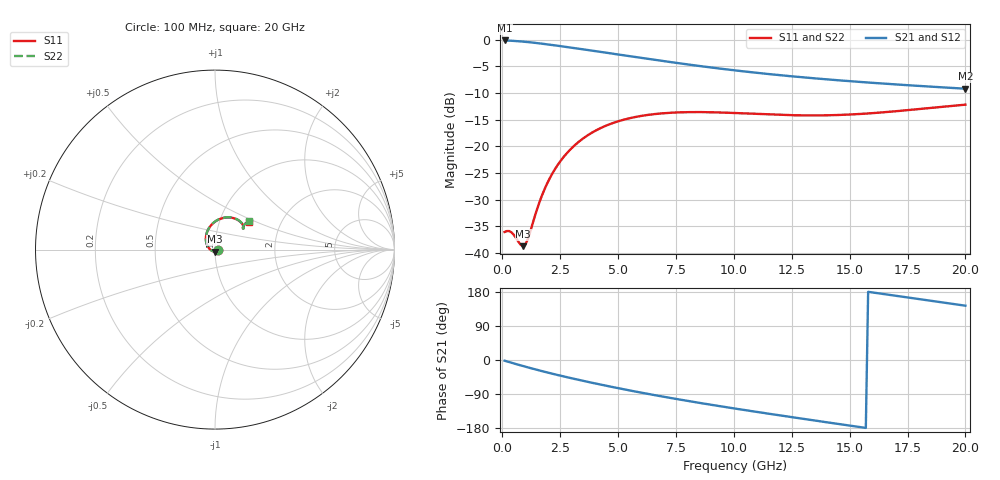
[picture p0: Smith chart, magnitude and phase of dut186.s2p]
! Touchstone file exported from HFSS 2024.1.0
!  File:  C:/UserFiles/LocalFiles/RDL_TSV_Batchsim/temp_RDL_TSV_186_1779440325.aedt
!  Generated:  05:12:53 PM May 22, 2026
!  Design:  RDL_TSV
!  Project:  temp_RDL_TSV_186_1779440325
!  Setup:  Setup1
!  Solution:  Sweep
! Variables:
!  dtsv = 9.55um
!  hbump = 3um
!  htsv = 74.54um
!  ldown = 642.29um
!  lrdl = 322.39um
!  p = 40
!  p1 = 45.52um
!  rhole = 10um
!  subl = 3216.43um
!  t = 450um
!  tdown = 2.71um
!  trdl = 3.03um
!  viad = 10um
!  wdown = 27.27um
!  wrdl = 27.04um
!  xbump = 18um
# GHz S MA R 50.000000
! Terminal data exported
! Port[1] = TM1_1_T1
! Port[2] = TM1_4_T1
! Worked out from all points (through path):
!   200 points, 100 MHz to 20 GHz, reference 50 ohm
!   highest |S21| = -0.14 dB at 100 MHz (marker M1); lowest = -9.2 dB at 20 GHz (marker M2)
!   group delay of S21, straight-line fit = 28.6 ps
!   lowest |S11| = -38.7 dB at 900 MHz (marker M3), VSWR 1.02, Z = 49.9 - j1.16 ohm
!   |S11| at or under -10 dB: start of sweep to end of sweep
!   |S22| runs from -38.7 to -12.1 dB; largest |S21 - S12| = 2.1e-14
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0.1  0.01574 -3.3  0.9837 -1.9  0.9837 -1.9  0.01574 -3.3
! Gamma 0 0 0 0
! Port Impedance 50 0 50 0
0.3  0.01606 -15.9  0.9797 -5.6  0.9797 -5.6  0.01606 -16.0
0.4  0.0156 -24.5  0.977 -7.4  0.977 -7.4  0.01559 -24.6
0.8  0.01191 -75.0  0.9635 -14.3  0.9635 -14.3  0.01187 -75.4
0.9  0.0116 -93.5  0.9594 -16.0  0.9594 -16.0  0.01157 -94.0
1  0.01207 -113.1  0.955 -17.7  0.955 -17.7  0.01207 -113.6
1.1  0.01346 -131.5  0.9504 -19.4  0.9504 -19.4  0.01348 -132.0
1.6  0.02976 174.0  0.9242 -27.6  0.9242 -27.6  0.0299 173.7
1.8  0.03851 162.2  0.9127 -30.7  0.9127 -30.7  0.03869 162.0
2.1  0.05264 148.5  0.895 -35.3  0.895 -35.3  0.05288 148.4
2.7  0.08204 128.3  0.859 -44.1  0.859 -44.1  0.08239 128.2
3.5  0.1191 108.3  0.8116 -55.1  0.8116 -55.1  0.1196 108.3
4.2  0.1468 94.5  0.7714 -64.3  0.7714 -64.3  0.1474 94.5
4.9  0.169 82.9  0.7328 -73.1  0.7328 -73.1  0.1697 82.9
5.8  0.1895 70.7  0.6857 -83.8  0.6857 -83.8  0.1903 70.7
6.8  0.203 59.9  0.6376 -95.1  0.6376 -95.1  0.2039 59.9
8.4  0.2096 47.4  0.571 -112.0  0.571 -112.0  0.2106 47.5
10.1  0.2052 39.7  0.5141 -128.6  0.5141 -128.6  0.2062 39.8
11.7  0.1984 36.7  0.4717 -143.5  0.4717 -143.5  0.1993 36.7
13.4  0.195 36.8  0.4359 -158.9  0.4359 -158.9  0.1959 36.9
16.7  0.2107 40.2  0.3845 172.0  0.3845 172.0  0.2117 40.3
20  0.2461 39.2  0.3473 143.3  0.3473 143.3  0.2472 39.4
